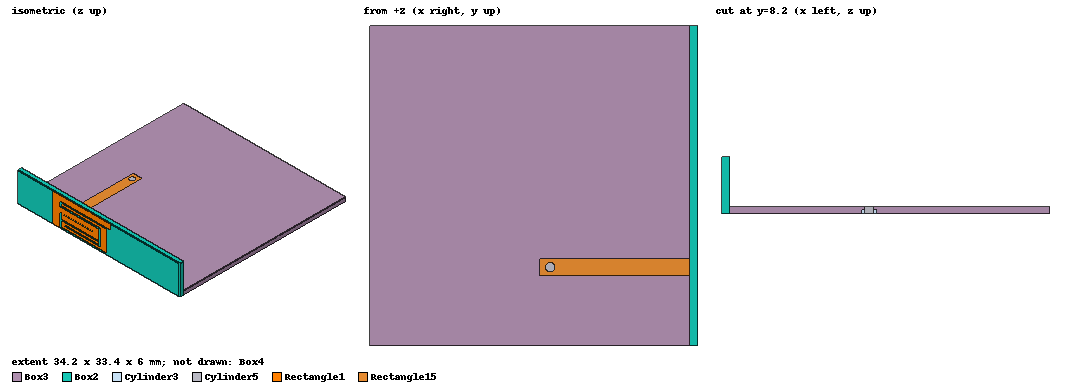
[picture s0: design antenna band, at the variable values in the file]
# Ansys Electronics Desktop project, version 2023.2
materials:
  vacuum: permittivity=1
  FR4_epoxy: permittivity=4.4 dielectric_loss_tangent=0.02
  pec: conductivity=1e+30
  copper: permeability=0.999991 conductivity=58000000
  air: permittivity=1.0006 permeability=1.0000004

design antenna band (HFSS, HFSS Modal Network, model units mm)
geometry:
  Box2 [FR4_epoxy] = box(corner=(33.4mm, 0mm, 0mm), size=(0.8mm, 33.4mm, 6mm))
  Box3 [FR4_epoxy] = box(corner=(0mm, 0mm, 0mm), size=(33.4mm, 33.4mm, 0.8mm))
  Rectangle1 = rectangle(corner=(0mm, 33.4mm, 0mm), x_size=34.2mm, y_size=-33.4mm)
  Rectangle2 = rectangle(corner=(34.2mm, 7.2mm, 0mm), y_size=1.4mm, z_size=6mm)
  Rectangle3 = rectangle(corner=(34.2mm, 8.6mm, 6mm), y_size=10.6mm, z_size=-1.2mm)
  Rectangle4 = rectangle(corner=(34.2mm, 9mm, 3.8mm), y_size=7.7mm, z_size=-1mm)
  Rectangle5 = rectangle(corner=(34.2mm, 9mm, 4.1mm), y_size=8.3mm, z_size=0.5mm)
  Rectangle6 = rectangle(corner=(34.2mm, 9mm, 2.8mm), y_size=-0.4mm, z_size=1mm)
  Rectangle7 = rectangle(corner=(34.2mm, 9mm, 2.7mm), y_size=7.7mm, z_size=-1mm)
  Rectangle8 = rectangle(corner=(34.2mm, 16.7mm, 1.7mm), y_size=-1.2mm, z_size=2.1mm)
  Rectangle9 = rectangle(corner=(34.2mm, 17.18mm, 0.3mm), y_size=1.2mm, z_size=4.3mm)
  Rectangle10 = rectangle(corner=(34.2mm, 9mm, 1mm), y_size=7.7mm, z_size=0.5mm)
  Rectangle11 = rectangle(corner=(34.2mm, 9mm, 0.8mm), y_size=7.7mm, z_size=-0.5mm)
  Rectangle12 = rectangle(corner=(34.2mm, 16.58mm, 0.3mm), y_size=0.62mm, z_size=0.5mm)
  Rectangle13 = rectangle(corner=(34.2mm, 9mm, 1mm), y_size=0.62mm, z_size=-0.5mm)
  Rectangle14 = rectangle(corner=(33.4mm, 7.3mm, 0.8mm), x_size=-15.7mm, y_size=1.8mm)
  Rectangle15 = rectangle(corner=(33.4mm, 7.3mm, 0.8mm), y_size=1.8mm, z_size=5.2mm)
  Rectangle16 = rectangle(corner=(33.4mm, 9.1mm, 6mm), y_size=10.6mm, z_size=-1.8mm)
  Circle1 = circle(normal=Z, centre=(18.8mm, 8.2mm, 0.8mm), radius=0.5mm)
  Rectangle15.subtract(Circle1)
  Cylinder3 [air] = cylinder(axis=Z, base_centre=(18.8mm, 8.2mm, 0mm), radius=0.8mm, height=0.4mm)
  Circle2 = circle(normal=Z, centre=(18.8mm, 8.2mm, 0.8mm), radius=0.5mm)
  Rectangle14.subtract(Circle2)
  Cylinder4 = cylinder(axis=Z, base_centre=(18.8mm, 8.2mm, 0mm), radius=0.5mm, height=0.8mm)
  Cylinder4_1 = Cylinder4.copy()
  Box3.subtract(Cylinder4_1)
  Cylinder3.subtract(Cylinder4)
  Cylinder5 [pec] = cylinder(axis=Z, base_centre=(18.8mm, 8.2mm, 0mm), radius=0.5mm, height=0.8mm)
  Rectangle15.unite(Rectangle14, Rectangle16)
  Box4 [air] = box(corner=(0mm, -5mm, -5mm), size=(40mm, 40mm, 20mm))
  Rectangle1.unite(Rectangle13, Rectangle2..Rectangle12)
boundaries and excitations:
  Rad1: Radiation Objects=Box4
  PerfE1: Perfect E Objects=[Rectangle1, Rectangle15]
  1: Wave Port Faces=Box4.face(-y) WavePortType=Modal NumModes=1 Modes{Mode1{CharImp=Zpi}}
  2: Wave Port Faces=Box4.face(+y) WavePortType=Modal NumModes=1 Modes{Mode1{CharImp=Zpi}}
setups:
  Setup1: HfssDriven Frequency=5GHz MaxDeltaS=0.02 MaximumPasses=6 MinimumPasses=1 MinimumConvergedPasses=1 PercentRefinement=30 BasisOrder=1 PortAccuracy=2 DrivenSolverType="Direct Solver"
    sweep Sweep: 2GHz to 10GHz, 401 points; Type=Interpolating InterpTolerance=0.5 InterpMaxSolns=250 InterpUsePortImped=false InterpUsePropConst=false PassivityErrorTolerance=0.0001
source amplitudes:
  1:1: 1W 0deg
  2:1: 0W 0deg
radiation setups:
  Infinite Sphere1: Infinite Sphere Theta=0deg..360deg step 2deg Phi=0deg..180deg step 2deg
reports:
  S Parameter Plot 1: dB(S(1,1)) vs Freq on Setup1 : Sweep
  S Parameter Plot 2: dB(S(2,1)) vs Freq on Setup1 : Sweep
  Gain Plot 1: dB(GainTotal) vs Theta on Setup1 : LastAdaptive, Infinite Sphere1 [Phi=all Freq=5GHz]
  Gain Plot 2: dB(GainTotal) vs Phi, Theta on Setup1 : LastAdaptive, Infinite Sphere1 [Freq=5GHz]
